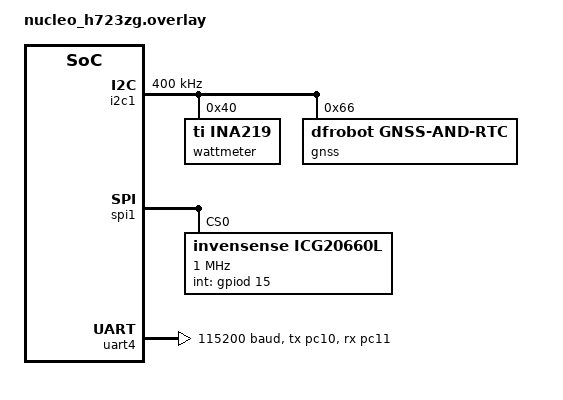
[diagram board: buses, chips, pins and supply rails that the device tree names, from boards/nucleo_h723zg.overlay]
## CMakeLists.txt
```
# SPDX-License-Identifier: Apache-2.0

cmake_minimum_required(VERSION 3.13.1)

# Path to micro-ROS Zephyr module inside this west workspace.
get_filename_component(
  MICRO_ROS_ZEPHYR_MODULE_DIR
  "${CMAKE_CURRENT_LIST_DIR}/../../micro_ros_zephyr_module"
  ABSOLUTE
)

# micro-ROS actual Zephyr module is under modules/libmicroros.
list(APPEND ZEPHYR_EXTRA_MODULES
  "${MICRO_ROS_ZEPHYR_MODULE_DIR}/modules/libmicroros"
)

find_package(Zephyr REQUIRED HINTS $ENV{ZEPHYR_BASE})
project(rover_controller)

# Common/shared types and utilities.
target_sources(app PRIVATE
  src/common/time_utils.c
)

# Hardware Abstraction Layer.
target_sources(app PRIVATE
  src/hal/imu.c
  src/hal/gnss.c
  # src/hal/odometry.c
  # src/hal/wheel_states.c
  # src/hal/battery.c
)

# # Safety layer.
# target_sources(app PRIVATE
#   src/safety/fault.c
#   src/safety/watchdog.c
#   src/safety/safety_monitor.c
# )

# # Application / control layer.
# target_sources(app PRIVATE
#   src/app/robot_command.c
#   src/app/state_machine.c
#   src/app/kinematics.c
#   src/app/odometry.c
#   src/app/control_loop.c
#   src/app/diagnostics.c
# )

# ROS 2 interface layer.
target_sources(app PRIVATE
  src/ros/node.c
  src/ros/publishers/heartbeat_pub.c
  src/ros/publishers/imu_pub.c
  src/ros/publishers/gnss_pub.c
  # src/ros/publishers/odom_pub.c
  # src/ros/publishers/wheel_states_pub.c
  # src/ros/publishers/battery_pub.c
  # src/ros/publishers/diagnostics_pub.c
  # src/ros/subscribers/cmd_vel_sub.c
)

# Application entry point.
target_sources(app PRIVATE
  src/main.c
)

# Ensure local headers are discoverable.
target_include_directories(app PRIVATE src)

# Application-specific Kconfig is handled by Zephyr automatically when Kconfig
# is present in the application directory.
```

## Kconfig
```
# SPDX-License-Identifier: Apache-2.0

mainmenu "Rover Controller Firmware Configuration"

menu "ROS Interface"

config ROVER_ROS_AGENT_IP
    string "micro-ROS agent IP address"
    default "10.42.0.1"
    help
      Default IP address of the micro-ROS agent on the host.

config ROVER_ROS_AGENT_PORT
    string "micro-ROS agent port"
    default "8888"
    help
      Default UDP port of the micro-ROS agent.

endmenu # ROS Interface

menu "Debug"

config ROVER_LOG_CONTROL_LOOP
    bool "Log control loop iterations"
    default n
    help
      Enable verbose logging inside the motor control loop.

endmenu # Debug

source "Kconfig.zephyr"
```

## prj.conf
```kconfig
CONFIG_GPIO=y
CONFIG_CPP=y

CONFIG_MAIN_STACK_SIZE=25000
CONFIG_MAIN_THREAD_PRIORITY=3

CONFIG_NEWLIB_LIBC=y
CONFIG_NEWLIB_LIBC_NANO=n
CONFIG_PTHREAD_IPC=n

CONFIG_POSIX_API=y
CONFIG_POSIX_CLOCK=y

CONFIG_STDOUT_CONSOLE=y
CONFIG_LOG=y
CONFIG_SERIAL=y
CONFIG_UART_INTERRUPT_DRIVEN=y
CONFIG_UART_LINE_CTRL=y

# Sensor / I2C / SPI support for IMU and wattmeter.
CONFIG_SENSOR=y
CONFIG_I2C=y
CONFIG_SPI=y

# Devicetree-enabled hardware drivers.
CONFIG_ICG20660L=y
CONFIG_ICG20660L_TRIGGER_OWN_THREAD=y
CONFIG_INA219=y

# GNSS support for rover.
CONFIG_GNSS=y
CONFIG_GNSS_SATELLITES=y
CONFIG_GNSS_DUMP_TO_LOG=n
CONFIG_GNSS_LOG_LEVEL_DBG=y
# a temporary workaround for the DFROBOT GNSS module, which has a non-standard GNSS message format. This should be removed once the module is updated to a standard format. 
CONFIG_GNSS_DFROBOT_GNSS_AND_RTC=y
# CONFIG_GNSS_NMEA_GENERIC is not set

#
# libmicroros (/home/jacob/Desktop/stable-v4.1-jazzy/micro_ros_zephyr_module/modules/libmicroros)
#
CONFIG_MICROROS=y
CONFIG_APP_LINK_WITH_MICROROS=y
# CONFIG_MICROROS_TRANSPORT_SERIAL is not set
# CONFIG_MICROROS_TRANSPORT_SERIAL_USB is not set
CONFIG_MICROROS_TRANSPORT_UDP=y

# Increase the number of micro-ROS entities to support all rover publishers
# (heartbeat, imu, odom, wheel_states, battery, gnss, diagnostics) plus one
# spare. The default of 1 causes the second publisher creation to fail.
CONFIG_MICROROS_PUBLISHERS="8"
CONFIG_MICROROS_SUBSCRIBERS="2"

# Networking config
CONFIG_NETWORKING=y
CONFIG_NET_UDP=y
CONFIG_NET_TCP=n
CONFIG_NET_IPV6=n
CONFIG_NET_IPV4=y
CONFIG_NET_SOCKETS=y
CONFIG_POSIX_MAX_FDS=16
CONFIG_NET_CONNECTION_MANAGER=y
CONFIG_NET_L2_ETHERNET=y

# Network buffers
CONFIG_NET_PKT_RX_COUNT=32
CONFIG_NET_PKT_TX_COUNT=16
CONFIG_NET_BUF_RX_COUNT=128
CONFIG_NET_BUF_TX_COUNT=64
CONFIG_NET_CONTEXT_NET_PKT_POOL=y

CONFIG_NET_CONFIG_SETTINGS=y
CONFIG_NET_CONFIG_NEED_IPV4=y
CONFIG_NET_DHCPV4=y

# Logging
CONFIG_NET_LOG=y
CONFIG_SERIAL=y
CONFIG_NET_STATISTICS=y
CONFIG_PRINTK=y
```

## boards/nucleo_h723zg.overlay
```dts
/**
 * @file nucleo_h723zg.overlay
 * @brief Board-specific Devicetree overlay for the Nucleo-H723ZG rover controller.
 *
 * All robot hardware is exposed through Devicetree aliases so the C code stays
 * independent of pin and bus assignments. The aliases are:
 *   - imu0       : ICG-20660L 6-axis IMU on I2C1
 *   - wattmeter0 : INA219-based power monitor on I2C1
 *   - gnss0      : UART connected to the GNSS receiver
 *   - motor0     : UART connected to the DDSM motor driver HAT
 *
 * Adapt the bus addresses, pins, and UART instances to the actual wiring.
 */

/ {
	aliases {
		imu0 = &icg20660l;
		wattmeter0 = &wattmeter;
		gnss0 = &gnss;
		motor0 = &uart4;
	};
};

/* I2C1 carries the IMU and the wattmeter at different addresses. */
&i2c1 {
	status = "okay";
	clock-frequency = <I2C_BITRATE_FAST>;

	wattmeter: wattmeter@40 {
		compatible = "ti,ina219";
		reg = <0x40>;
		status = "okay";
		/* Gravity I2C wattmeter defaults: 100 mΩ shunt, ~3.2 A range. */
		lsb-microamp = <100>;
		shunt-milliohm = <100>;
	};

	gnss: gnss-and-rtc@66 {
		compatible = "dfrobot,gnss-and-rtc";
		reg = <0x66>;
		status = "okay";
		gnss-mode = <7>;
		poll-interval-ms = <1000>;
	};
};

&spi1 {
	status = "okay";

	icg20660l: icg20660l@0 {
		compatible = "invensense,icg20660l";
		reg = <0>;
		spi-max-frequency = <1000000>;
		status = "okay";
		accel-fs = <8>;  /* ±4g */
		gyro-fs = <0>;   /* ±125 dps */
		odr = <500>;
		int-gpios = <&gpiod 15 GPIO_ACTIVE_HIGH>;
	};
};


/* USART2 is reserved for a future raw NMEA GPS module. Disabled in this
 * prototype because the DFRobot module is on I2C1.
 */
&usart2 {
	status = "disabled";
};

/* UART4 drives the DDSM motor driver HAT. */
&uart4 {
	status = "okay";
	pinctrl-0 = <&uart4_tx_pc10 &uart4_rx_pc11>;
	pinctrl-names = "default";
	current-speed = <115200>;
};
```

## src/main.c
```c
/**
 * @file main.c
 * @brief Application entry point and initialization orchestration.
 *
 * main() performs a bottom-up initialization of the firmware layers:
 *   1. Board HAL.
 *   2. Common resources (command target, time utilities).
 *   3. Hardware adapters (sensors, power, motor drive HAL).
 *   4. Safety layer (faults, watchdog, safety monitor).
 *   5. Application layer (state machine, control loop).
 *   6. ROS interface (node, publishers, subscriber).
 *
 * After initialization it enters a low-priority telemetry loop that publishes
 * slow topics and monitors the micro-ROS agent connection.
 */

#include <stdio.h>
#include <zephyr/device.h>
#include <zephyr/kernel.h>
#include <zephyr/sys/util.h>
#include <zephyr/logging/log.h>

#include "common/time_utils.h"
#include "hal/gnss.h"
#include "hal/imu.h"

// #include "safety/safety_monitor.h"
// #include "safety/watchdog.h"

// #include "app/state_machine.h"
// #include "app/robot_command.h"
// #include "app/control_loop.h"
// #include "app/diagnostics.h"

#include "ros/node.h"
#include "ros/publishers/heartbeat_pub.h"
#include "ros/publishers/gnss_pub.h"
#include "ros/publishers/imu_pub.h"
// #include "ros/publishers/odom_pub.h"
// #include "ros/publishers/wheel_states_pub.h"
// #include "ros/publishers/battery_pub.h"
// #include "ros/publishers/gnss_pub.h"
// #include "ros/publishers/diagnostics_pub.h"
// #include "ros/subscribers/cmd_vel_sub.h"

LOG_MODULE_REGISTER(main, LOG_LEVEL_DBG);

static int initialize_layers(void)
{
    int rc;

    // /* Layer 0: board HAL. */
    // rc = board_init();
    // if (rc != 0) {
    //     LOG_ERR("board_init failed: %d", rc);
    //     return rc;
    // }

    // /* Layer 1: common resources. */
    // time_now_ms(); /* warm up uptime reference */
    // rc = robot_command_init();
    // if (rc != 0) {
    //     LOG_ERR("robot_command_init failed: %d", rc);
    //     return rc;
    // }

    rc = gnss_init();
    if (rc != 0) {
        LOG_ERR("gnss_init failed: %d", rc);
        return rc;
    }

    rc = imu_init();
    if (rc != 0) {
        LOG_ERR("imu_init failed: %d", rc);
        return rc;
    }

    // (void)sensor_gnss_init();
    // (void)power_monitor_init();

    // const struct device *motor_dev = board_get_motor_drive_device();
    // if (motor_dev != NULL) {
    //     (void)motor_drive_init(motor_dev);
    // }

    // /* Layer 3: safety. */
    // rc = safety_monitor_init();
    // if (rc != 0) {
    //     LOG_ERR("safety_monitor_init failed: %d", rc);
    //     return rc;
    // }

    // /* Layer 4: application / control. */
    // state_machine_init();
    // rc = control_loop_init();
    // if (rc != 0) {
    //     LOG_ERR("control_loop_init failed: %d", rc);
    //     return rc;
    // }
    // diagnostics_init();

    /* Layer 5: ROS interface. */
    rc = ros_node_init();
    if (rc != 0) {
        LOG_ERR("ros_node_init failed: %d", rc);
        return rc;
    }

    // rc = heartbeat_pub_init();
    // if (rc != 0) {
    //     LOG_ERR("heartbeat_pub_init failed: %d", rc);
    //     return rc;
    // }

    rc = imu_pub_init();
    if (rc != 0) {
        LOG_ERR("imu_pub_init failed: %d", rc);
        return rc;
    }

    // rc = odom_pub_init();
    // if (rc != 0) {
    //     LOG_ERR("odom_pub_init failed: %d", rc);
    //     return rc;
    // }

    // rc = wheel_states_pub_init();
    // if (rc != 0) {
    //     LOG_ERR("wheel_states_pub_init failed: %d", rc);
    //     return rc;
    // }

    // rc = battery_pub_init();
    // if (rc != 0) {
    //     LOG_ERR("battery_pub_init failed: %d", rc);
    //     return rc;
    // }

    rc = gnss_pub_init();
    if (rc != 0) {
        LOG_ERR("gnss_pub_init failed: %d", rc);
        return rc;
    }

    // rc = diagnostics_pub_init();
    // if (rc != 0) {
    //     LOG_ERR("diagnostics_pub_init failed: %d", rc);
    //     return rc;
    // }

    // rc = cmd_vel_sub_init();
    // if (rc != 0) {
    //     LOG_ERR("cmd_vel_sub_init failed: %d", rc);
    //     return rc;
    // }

    return 0;
}

/* Thread that drains sensor message queues and publishes each sample to micro-ROS. */
#define MICROROS_PUBLISH_STACK_SIZE 4096
#define MICROROS_PUBLISH_PRIORITY   K_PRIO_PREEMPT(2)

static void microros_publish_thread_entry(void *p1, void *p2, void *p3)
{
    ARG_UNUSED(p1);
    ARG_UNUSED(p2);
    ARG_UNUSED(p3);

    /* Additional sensor queues can be added here as new K_POLL_EVENT
     * initializers; the dispatch switch below selects the right publisher.
     */
    struct k_poll_event events[] = {
        K_POLL_EVENT_STATIC_INITIALIZER(
            K_POLL_TYPE_MSGQ_DATA_AVAILABLE,
            K_POLL_MODE_NOTIFY_ONLY,
            imu_get_msgq(),
            0),
        K_POLL_EVENT_STATIC_INITIALIZER(
            K_POLL_TYPE_MSGQ_DATA_AVAILABLE,
            K_POLL_MODE_NOTIFY_ONLY,
            gnss_get_msgq(),
            0),
    };

    while (true) {

        int rc = k_poll(events, ARRAY_SIZE(events), K_FOREVER);
        if (rc != 0) {
            continue;
        }

        if (events[0].state == K_POLL_STATE_MSGQ_DATA_AVAILABLE) {
            struct imu_sample sample;

            /* Drain the queue so bursts do not backlog indefinitely. */
            while (k_msgq_get(imu_get_msgq(), &sample, K_NO_WAIT) == 0) {
                imu_pub_publish(sample);
            }
            events[0].state = K_POLL_STATE_NOT_READY;
        }

        if (events[1].state == K_POLL_STATE_MSGQ_DATA_AVAILABLE) {
            struct gnss_fix fix;

            while (k_msgq_get(gnss_get_msgq(), &fix, K_NO_WAIT) == 0) {
                gnss_pub_publish(fix);
            }
            events[1].state = K_POLL_STATE_NOT_READY;
        }
    }
}

/* Stack and thread object for the micro-ROS publisher thread.
 * The thread is created in start_threads() after the IMU driver and ROS node
 * are initialized, so it never publishes on an inactive publisher.
 */
static K_THREAD_STACK_DEFINE(microros_publish_stack, MICROROS_PUBLISH_STACK_SIZE);
static struct k_thread microros_publish_thread;

static void start_threads(void)
{
    /* Safety monitor and control loop are statically defined with
     * K_THREAD_DEFINE; calling start() logs confirmation. */
    // (void)safety_monitor_start();
    // (void)control_loop_start();
    (void)ros_node_start();

    k_thread_create(
        &microros_publish_thread,
        microros_publish_stack,
        K_THREAD_STACK_SIZEOF(microros_publish_stack),
        microros_publish_thread_entry,
        NULL, NULL, NULL,
        MICROROS_PUBLISH_PRIORITY, 0, K_NO_WAIT);
}

int main(void)
{
    LOG_INF("Rover controller firmware starting");

    if (initialize_layers() != 0) {
        LOG_ERR("Initialization failed; halting");
        return -1;
    }

    //state_machine_transition(ROBOT_STATE_WAIT_AGENT);
    start_threads();

    /* Wait briefly to allow the executor to connect before leaving BOOT. */
    k_sleep(K_MSEC(100));
    //state_machine_transition(ROBOT_STATE_IDLE);

    while (true) {
        k_sleep(K_MSEC(1000));
    }

    return 0;
}
```
